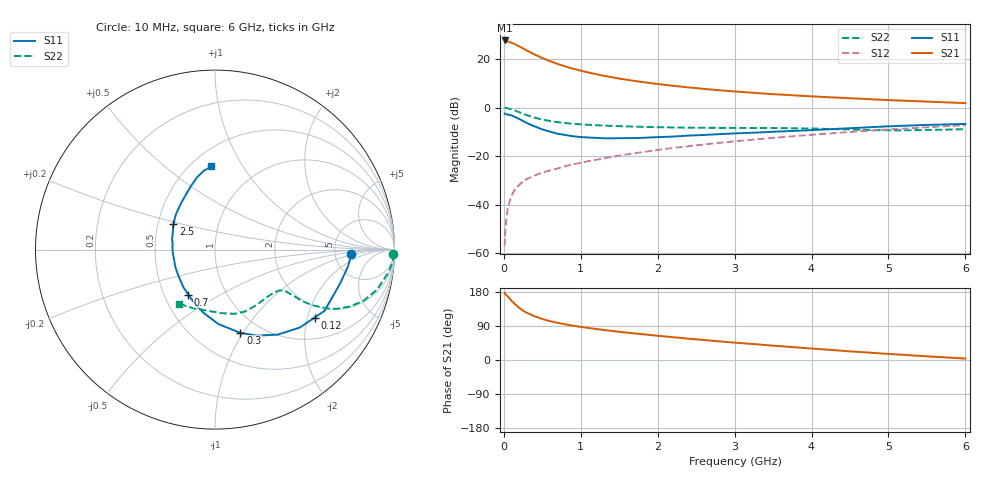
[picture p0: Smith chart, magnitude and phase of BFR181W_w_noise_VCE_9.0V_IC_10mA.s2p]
! Infineon Technologies  Discrete & RF Semiconductors
! BFR181W
! VCE =  9.0 V,  IC =  10 mA
! Common Emitter S-Parameters:  Jan 2017
# GHz  S  MA  R  50
!  f  S11  S21  S12  S22
! GHz  MAG  ANG  MAG  ANG  MAG  ANG  MAG  ANG
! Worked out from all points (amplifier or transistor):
!   77 points, 10 MHz to 6 GHz, reference 50 ohm
!   highest |S21| = 27.8 dB at 10 MHz (marker M1)
!   |S21| within 3 dB of that: start of sweep to 233 MHz
!   unconditionally stable (mu >= 1): 1.074 GHz to 3.042 GHz
!   at 130 MHz: K = 0.26, MSG = 30.4 dB, |S12| = -34.5 dB
!   at 2.2 GHz: K = 1.05, MAG = 11.4 dB, |S12| = -16.6 dB
!   at 6 GHz: K = 0.85, MSG = 4.6 dB, |S12| = -7.2 dB
!   lowest NFmin = 1.24 dB at 450 MHz
!   S11 on the Smith chart (normalised r, x): 10 MHz: 7.23, -0.91; 120 MHz: 1.61, -2.22; 300 MHz: 0.80, -0.98; 700 MHz: 0.66, -0.36; 2.5 GHz: 0.60, +0.18; 6 GHz: 0.62, +0.74
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0.01  0.7603 -2.0  24.43 177.2  0.0014 74.9  0.9927 -1.4
0.02  0.7474 -7.1  24.09 174.2  0.0031 90.0  0.9962 -2.8
0.05  0.7234 -14.7  23.37 167.6  0.008 81.7  0.9765 -7.3
0.1  0.6994 -29.2  22.02 156.3  0.0151 76.9  0.9292 -14.0
0.12  0.672 -34.3  21.27 152.5  0.0176 74.2  0.9055 -16.0
0.15  0.6418 -42.6  20.34 146.3  0.0214 71.4  0.8723 -19.3
0.2  0.589 -53.5  18.44 137.5  0.0257 67.1  0.8094 -23.2
0.25  0.5339 -63.9  16.73 130.3  0.0309 65.0  0.7533 -26.0
0.3  0.4853 -73.0  15.11 124.3  0.0339 62.8  0.702 -27.8
0.4  0.4146 -87.5  12.56 115.1  0.04 62.2  0.6244 -29.8
0.5  0.3589 -100.1  10.59 108.2  0.0461 61.5  0.5704 -30.5
0.6  0.3209 -110.6  9.139 102.6  0.0512 62.5  0.5317 -30.5
0.7  0.2918 -120.7  7.994 98.0  0.0559 63.2  0.5038 -30.4
0.9  0.2586 -138.1  6.394 90.5  0.0678 64.4  0.4682 -30.5
1.1  0.2436 -152.5  5.332 84.6  0.0795 65.8  0.4455 -30.9
1.5  0.2363 -175.4  4.006 74.5  0.1028 66.9  0.4177 -33.6
2.1  0.2511 160.3  2.962 62.1  0.1413 66.3  0.3951 -41.1
2.5  0.2706 148.7  2.54 54.6  0.168 65.1  0.3874 -47.6
3.1  0.3001 134.3  2.115 44.3  0.2101 62.4  0.3833 -57.7
4.1  0.3525 116.4  1.687 28.8  0.2848 56.0  0.3697 -75.0
5.1  0.4201 102.8  1.42 14.8  0.3641 48.1  0.3427 -99.6
6  0.4639 92.6  1.249 3.8  0.4371 39.9  0.3631 -124.0
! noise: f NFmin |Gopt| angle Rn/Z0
0.45  1.24  0.15  16  0.21
0.9  1.29  0.14  31  0.21
1.9  1.71  0.03  142  0.2
2.4  1.88  0.02  -166  0.24
